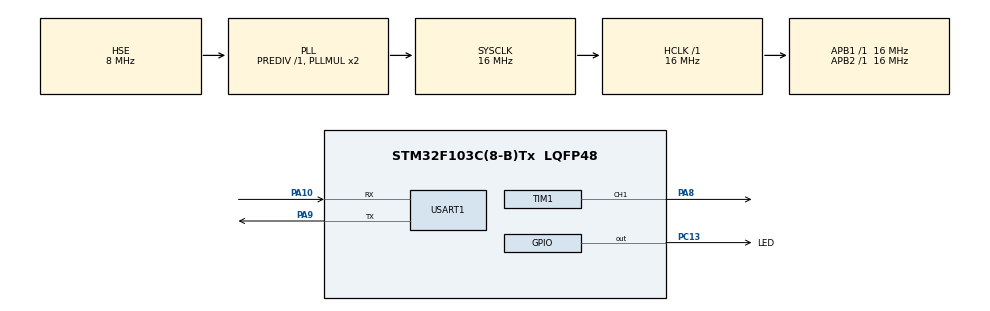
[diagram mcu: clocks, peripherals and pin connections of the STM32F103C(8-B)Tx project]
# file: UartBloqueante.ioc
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Mcu.Family=STM32F1
Mcu.Name=STM32F103C(8-B)Tx
Mcu.Package=LQFP48
NVIC.PriorityGroup=NVIC_PRIORITYGROUP_4
NVIC.TIM1_CC_IRQn=true\:0\:0\:false\:false\:true\:true\:true\:true
NVIC.USART1_IRQn=true\:0\:0\:false\:false\:true\:true\:true\:true
PA10.Mode=Asynchronous
PA10.Signal=USART1_RX
PA13.Mode=Serial_Wire
PA13.Signal=SYS_JTMS-SWDIO
PA14.Mode=Serial_Wire
PA14.Signal=SYS_JTCK-SWCLK
PA8.Signal=S_TIM1_CH1
PA9.Mode=Asynchronous
PA9.Signal=USART1_TX
PC13-TAMPER-RTC.GPIO_Label=LED
PC13-TAMPER-RTC.Signal=GPIO_Output
PD0-OSC_IN.Mode=HSE-External-Oscillator
PD0-OSC_IN.Signal=RCC_OSC_IN
PD1-OSC_OUT.Mode=HSE-External-Oscillator
PD1-OSC_OUT.Signal=RCC_OSC_OUT
ProjectManager.HeapSize=0x200
ProjectManager.StackSize=0x400
ProjectManager.TargetToolchain=STM32CubeIDE
RCC.AHBFreq_Value=16000000
RCC.APB1Freq_Value=16000000
RCC.APB1TimFreq_Value=16000000
RCC.APB2Freq_Value=16000000
RCC.APB2TimFreq_Value=16000000
RCC.HCLKFreq_Value=16000000
RCC.PLLSourceVirtual=RCC_PLLSOURCE_HSE
RCC.SYSCLKFreq_VALUE=16000000
RCC.SYSCLKSource=RCC_SYSCLKSOURCE_PLLCLK
RCC.USBFreq_Value=16000000
SH.S_TIM1_CH1.0=TIM1_CH1,Output Compare1 CH1
TIM1.Channel-Output\ Compare1\ CH1=TIM_CHANNEL_1
TIM1.OCMode_1=TIM_OCMODE_TOGGLE
TIM1.Prescaler=64000
TIM1.Pulse-Output\ Compare1\ CH1=250
USART1.VirtualMode=VM_ASYNC
VP_TIM1_VS_ClockSourceINT.Mode=Internal
board=custom

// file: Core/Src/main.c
/* USER CODE BEGIN Header */
/**
  ******************************************************************************
  * @file           : main.c
  * @brief          : Main program body
  ******************************************************************************
  * @attention
  *
  * Copyright (c) 2022 STMicroelectronics.
  * All rights reserved.
  *
  * This software is licensed under terms that can be found in the LICENSE file
  * in the root directory of this software component.
  * If no LICENSE file comes with this software, it is provided AS-IS.
  *
  ******************************************************************************
  */
/* USER CODE END Header */
#include "main.h"

/* USER CODE BEGIN Includes */
#include <stdio.h>
#include <string.h>
/* USER CODE END Includes */

 TIM_HandleTypeDef htim1;

UART_HandleTypeDef huart1;

void SystemClock_Config(void);
static void MX_GPIO_Init(void);
static void MX_TIM1_Init(void);
static void MX_USART1_UART_Init(void);

/* USER CODE BEGIN 0 */
uint8_t flag=0;

void HAL_TIM_OC_DelayElapsedCallback (TIM_HandleTypeDef *htim) {
	uint32_t pulse;
	if (htim->Channel == HAL_TIM_ACTIVE_CHANNEL_1) {
		flag=1;
		pulse = HAL_TIM_ReadCapturedValue(htim, TIM_CHANNEL_1);
		__HAL_TIM_SET_COMPARE(htim, TIM_CHANNEL_1, (pulse + 250));
	}
}

/* USER CODE END 0 */

int main(void)
{

  /* MCU Configuration--------------------------------------------------------*/

  /* Reset of all peripherals, Initializes the Flash interface and the Systick. */
  HAL_Init();

  /* Configure the system clock */
  SystemClock_Config();

  /* Initialize all configured peripherals */
  MX_GPIO_Init();
  MX_TIM1_Init();
  MX_USART1_UART_Init();
  /* USER CODE BEGIN 2 */
  uint8_t buffer[20];
  uint8_t tick=0;

  /* USER CODE END 2 */

  /* Infinite loop */
  while (1)
  {

    /* USER CODE BEGIN 3 */
	  if (flag){
	  			flag=0;
	  			HAL_GPIO_TogglePin(LED_GPIO_Port, LED_Pin);
	  			sprintf((char*)buffer,"Tick numero: %d\n",tick++);

	  			HAL_UART_Transmit(&huart1, buffer,strlen((const char*)buffer),500);
	  		}

  }
  /* USER CODE END 3 */
}

void SystemClock_Config(void)
{
  RCC_OscInitTypeDef RCC_OscInitStruct = {0};
  RCC_ClkInitTypeDef RCC_ClkInitStruct = {0};

  /** Initializes the RCC Oscillators according to the specified parameters
  * in the RCC_OscInitTypeDef structure.
  */
  RCC_OscInitStruct.OscillatorType = RCC_OSCILLATORTYPE_HSE;
  RCC_OscInitStruct.HSEState = RCC_HSE_ON;
  RCC_OscInitStruct.HSEPredivValue = RCC_HSE_PREDIV_DIV1;
  RCC_OscInitStruct.HSIState = RCC_HSI_ON;
  RCC_OscInitStruct.PLL.PLLState = RCC_PLL_ON;
  RCC_OscInitStruct.PLL.PLLSource = RCC_PLLSOURCE_HSE;
  RCC_OscInitStruct.PLL.PLLMUL = RCC_PLL_MUL2;
  if (HAL_RCC_OscConfig(&RCC_OscInitStruct) != HAL_OK)
  {
    Error_Handler();
  }

  /** Initializes the CPU, AHB and APB buses clocks
  */
  RCC_ClkInitStruct.ClockType = RCC_CLOCKTYPE_HCLK|RCC_CLOCKTYPE_SYSCLK
                              |RCC_CLOCKTYPE_PCLK1|RCC_CLOCKTYPE_PCLK2;
  RCC_ClkInitStruct.SYSCLKSource = RCC_SYSCLKSOURCE_PLLCLK;
  RCC_ClkInitStruct.AHBCLKDivider = RCC_SYSCLK_DIV1;
  RCC_ClkInitStruct.APB1CLKDivider = RCC_HCLK_DIV1;
  RCC_ClkInitStruct.APB2CLKDivider = RCC_HCLK_DIV1;

  if (HAL_RCC_ClockConfig(&RCC_ClkInitStruct, FLASH_LATENCY_0) != HAL_OK)
  {
    Error_Handler();
  }
}

static void MX_TIM1_Init(void)
{

  TIM_ClockConfigTypeDef sClockSourceConfig = {0};
  TIM_MasterConfigTypeDef sMasterConfig = {0};
  TIM_OC_InitTypeDef sConfigOC = {0};
  TIM_BreakDeadTimeConfigTypeDef sBreakDeadTimeConfig = {0};

  htim1.Instance = TIM1;
  htim1.Init.Prescaler = 64000;
  htim1.Init.CounterMode = TIM_COUNTERMODE_UP;
  htim1.Init.Period = 65535;
  htim1.Init.ClockDivision = TIM_CLOCKDIVISION_DIV1;
  htim1.Init.RepetitionCounter = 0;
  htim1.Init.AutoReloadPreload = TIM_AUTORELOAD_PRELOAD_DISABLE;
  if (HAL_TIM_Base_Init(&htim1) != HAL_OK)
  {
    Error_Handler();
  }
  sClockSourceConfig.ClockSource = TIM_CLOCKSOURCE_INTERNAL;
  if (HAL_TIM_ConfigClockSource(&htim1, &sClockSourceConfig) != HAL_OK)
  {
    Error_Handler();
  }
  if (HAL_TIM_OC_Init(&htim1) != HAL_OK)
  {
    Error_Handler();
  }
  sMasterConfig.MasterOutputTrigger = TIM_TRGO_RESET;
  sMasterConfig.MasterSlaveMode = TIM_MASTERSLAVEMODE_DISABLE;
  if (HAL_TIMEx_MasterConfigSynchronization(&htim1, &sMasterConfig) != HAL_OK)
  {
    Error_Handler();
  }
  sConfigOC.OCMode = TIM_OCMODE_TOGGLE;
  sConfigOC.Pulse = 250;
  sConfigOC.OCPolarity = TIM_OCPOLARITY_HIGH;
  sConfigOC.OCNPolarity = TIM_OCNPOLARITY_HIGH;
  sConfigOC.OCFastMode = TIM_OCFAST_DISABLE;
  sConfigOC.OCIdleState = TIM_OCIDLESTATE_RESET;
  sConfigOC.OCNIdleState = TIM_OCNIDLESTATE_RESET;
  if (HAL_TIM_OC_ConfigChannel(&htim1, &sConfigOC, TIM_CHANNEL_1) != HAL_OK)
  {
    Error_Handler();
  }
  sBreakDeadTimeConfig.OffStateRunMode = TIM_OSSR_DISABLE;
  sBreakDeadTimeConfig.OffStateIDLEMode = TIM_OSSI_DISABLE;
  sBreakDeadTimeConfig.LockLevel = TIM_LOCKLEVEL_OFF;
  sBreakDeadTimeConfig.DeadTime = 0;
  sBreakDeadTimeConfig.BreakState = TIM_BREAK_DISABLE;
  sBreakDeadTimeConfig.BreakPolarity = TIM_BREAKPOLARITY_HIGH;
  sBreakDeadTimeConfig.AutomaticOutput = TIM_AUTOMATICOUTPUT_DISABLE;
  if (HAL_TIMEx_ConfigBreakDeadTime(&htim1, &sBreakDeadTimeConfig) != HAL_OK)
  {
    Error_Handler();
  }
  /* USER CODE BEGIN TIM1_Init 2 */
  HAL_TIM_OC_Start_IT(&htim1, TIM_CHANNEL_1);
  /* USER CODE END TIM1_Init 2 */
  HAL_TIM_MspPostInit(&htim1);

}

static void MX_USART1_UART_Init(void)
{

  huart1.Instance = USART1;
  huart1.Init.BaudRate = 115200;
  huart1.Init.WordLength = UART_WORDLENGTH_8B;
  huart1.Init.StopBits = UART_STOPBITS_1;
  huart1.Init.Parity = UART_PARITY_NONE;
  huart1.Init.Mode = UART_MODE_TX_RX;
  huart1.Init.HwFlowCtl = UART_HWCONTROL_NONE;
  huart1.Init.OverSampling = UART_OVERSAMPLING_16;
  if (HAL_UART_Init(&huart1) != HAL_OK)
  {
    Error_Handler();
  }

}

static void MX_GPIO_Init(void)
{
  GPIO_InitTypeDef GPIO_InitStruct = {0};

  /* GPIO Ports Clock Enable */
  __HAL_RCC_GPIOC_CLK_ENABLE();
  __HAL_RCC_GPIOD_CLK_ENABLE();
  __HAL_RCC_GPIOA_CLK_ENABLE();

  /*Configure GPIO pin Output Level */
  HAL_GPIO_WritePin(LED_GPIO_Port, LED_Pin, GPIO_PIN_RESET);

  /*Configure GPIO pin : LED_Pin */
  GPIO_InitStruct.Pin = LED_Pin;
  GPIO_InitStruct.Mode = GPIO_MODE_OUTPUT_PP;
  GPIO_InitStruct.Pull = GPIO_NOPULL;
  GPIO_InitStruct.Speed = GPIO_SPEED_FREQ_LOW;
  HAL_GPIO_Init(LED_GPIO_Port, &GPIO_InitStruct);

}

void Error_Handler(void)
{
  __disable_irq();
  while (1)
  {
  }
}
